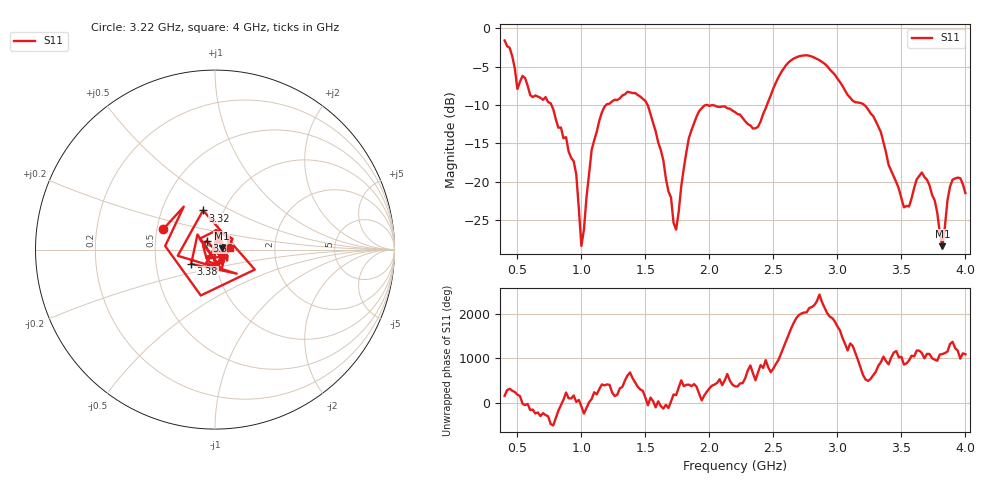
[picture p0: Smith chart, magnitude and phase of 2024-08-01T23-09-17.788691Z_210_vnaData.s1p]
!Created with skrf (http://scikit-rf.org).
# Hz S RI R 50.0
!freq ReS11 ImS11
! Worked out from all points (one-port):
!   181 points, 400 MHz to 4 GHz, reference 50 ohm
!   lowest |S11| = -28.4 dB at 3.82 GHz (marker M1), VSWR 1.08, Z = 53.9 + j0.749 ohm
!   |S11| at or under -10 dB: 1.517 GHz to 1.976 GHz (458.7 MHz wide, 26.3 % of centre); 1.983 GHz to 2.45 GHz (466.6 MHz wide, 21.1 % of centre); 3.21 GHz to end of sweep (the widest 3 of 4)
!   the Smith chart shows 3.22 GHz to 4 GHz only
!   S11 on the Smith chart (normalised r, x): 3.22 GHz: 0.54, +0.13; 3.32 GHz: 0.80, +0.37; 3.38 GHz: 0.76, -0.12; 3.52 GHz: 0.91, +0.09; 4 GHz: 1.18, +0.03
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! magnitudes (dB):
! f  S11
! 400 MHz  -1.6
! 500 MHz  -7.9
! 720 MHz  -9.0
! 860 MHz  -14.3
! 960 MHz  -19.0
! 1 GHz  -28.4
! 1.08 GHz  -15.8
! 1.18 GHz  -10.2
! 1.3 GHz  -9.1
! 1.52 GHz  -10.1
! 1.72 GHz  -25.3
! 1.76 GHz  -23.9
! 1.84 GHz  -14.3
! 1.92 GHz  -10.8
! 2.2 GHz  -10.9
! 2.38 GHz  -12.8
! 2.66 GHz  -3.9
! 3.1 GHz  -9.1
! 3.22 GHz  -10.1
! 3.32 GHz  -12.8
! 3.38 GHz  -16.2
! 3.52 GHz  -23.3
! 3.56 GHz  -23.2
! 3.66 GHz  -18.8
! 3.76 GHz  -22.4
! 3.82 GHz  -28.4
! 3.9 GHz  -19.7
! 4 GHz  -21.5
